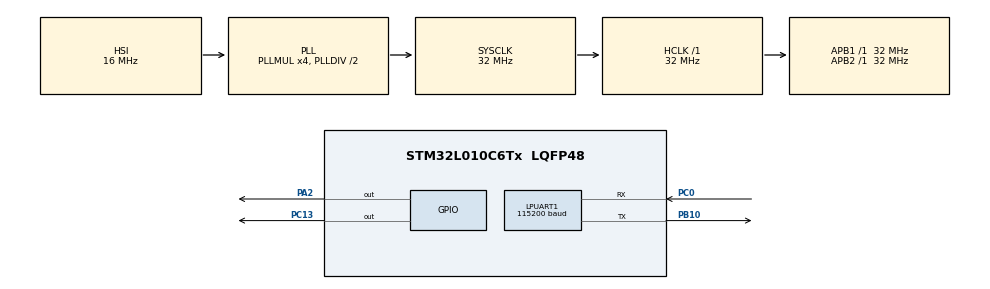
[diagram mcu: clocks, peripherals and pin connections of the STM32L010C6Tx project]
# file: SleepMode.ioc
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LPUART1.BaudRate=115200
LPUART1.WordLength=UART_WORDLENGTH_8B
Mcu.Family=STM32L0
Mcu.Name=STM32L010C6Tx
Mcu.Package=LQFP48
NVIC.RTC_IRQn=true\:0\:0\:false\:false\:true\:true\:true
PA13.Mode=Serial_Wire
PA13.Signal=SYS_SWDIO
PA14.Mode=Serial_Wire
PA14.Signal=SYS_SWCLK
PA2.Signal=GPIO_Output
PB10.Mode=Asynchronous
PB10.Signal=LPUART1_TX
PC0.Mode=Asynchronous
PC0.Signal=LPUART1_RX
PC13-ANTI_TAMP.Signal=GPIO_Output
ProjectManager.HeapSize=0x200
ProjectManager.StackSize=0x400
ProjectManager.TargetToolchain=STM32CubeIDE
RCC.AHBFreq_Value=32000000
RCC.APB1Freq_Value=32000000
RCC.APB1TimFreq_Value=32000000
RCC.APB2Freq_Value=32000000
RCC.APB2TimFreq_Value=32000000
RCC.HCLKFreq_Value=32000000
RCC.HSE_VALUE=8000000
RCC.HSI16_VALUE=16000000
RCC.HSI_VALUE=16000000
RCC.LSE_VALUE=32768
RCC.MSI_VALUE=2097000
RCC.PLLMUL=RCC_PLLMUL_4
RCC.SYSCLKFreq_VALUE=32000000
RCC.SYSCLKSource=RCC_SYSCLKSOURCE_PLLCLK
RCC.VCOOutputFreq_Value=64000000
RTC.WakeUpClock-WakeUp=RTC_WAKEUPCLOCK_CK_SPRE_16BITS
RTC.WakeUpCounter-WakeUp=7
VP_RTC_VS_RTC_Activate.Mode=RTC_Enabled
VP_RTC_VS_RTC_WakeUp_intern.Mode=WakeUp
board=custom

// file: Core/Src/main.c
/* USER CODE BEGIN Header */
/**
  ******************************************************************************
  * @file           : main.c
  * @brief          : Main program body
  ******************************************************************************
  * @attention
  *
  * Copyright (c) 2022 STMicroelectronics.
  * All rights reserved.
  *
  * This software is licensed under terms that can be found in the LICENSE file
  * in the root directory of this software component.
  * If no LICENSE file comes with this software, it is provided AS-IS.
  *
  ******************************************************************************
  */
/* USER CODE END Header */
#include "main.h"

/* USER CODE BEGIN Includes */
#include <string.h>
#include <stdio.h>
#define printf(...)  HAL_UART_Transmit((UART_HandleTypeDef *)&hlpuart1, (uint8_t *)u_buf,\
		                                sprintf((char*)u_buf,__VA_ARGS__), 0xFFFF);
uint8_t u_buf[256];
/* USER CODE END Includes */

UART_HandleTypeDef hlpuart1;

RTC_HandleTypeDef hrtc;

void SystemClock_Config(void);
static void MX_GPIO_Init(void);
static void MX_LPUART1_UART_Init(void);
static void MX_RTC_Init(void);

int main(void)
{

  /* MCU Configuration--------------------------------------------------------*/

  /* Reset of all peripherals, Initializes the Flash interface and the Systick. */
  HAL_Init();

  /* Configure the system clock */
  SystemClock_Config();

  /* Initialize all configured peripherals */
  MX_GPIO_Init();
  MX_LPUART1_UART_Init();
  MX_RTC_Init();
  /* USER CODE BEGIN 2 */
  HAL_RTCEx_DeactivateWakeUpTimer(&hrtc);
  __HAL_RTC_WAKEUPTIMER_CLEAR_FLAG(&hrtc, RTC_FLAG_WUTF);
  __HAL_RTC_WAKEUPTIMER_EXTI_CLEAR_FLAG();
  HAL_RTCEx_SetWakeUpTimer_IT(&hrtc, 0x0009, RTC_WAKEUPCLOCK_CK_SPRE_16BITS); //ck_spre ~1 Hz (40 kHz div127 div 315) used as clock for the RTC wake-up timer
  /* USER CODE END 2 */

  /* Infinite loop */
  while (1)
  {

    /* USER CODE BEGIN 3 */
	  /*HAL_GPIO_TogglePin(GPIOC, GPIO_PIN_13); // Toggle with a pin to check the wake-up period
	  HAL_Delay(2000);*/

	  HAL_GPIO_WritePin(GPIOC, GPIO_PIN_13, GPIO_PIN_SET);
	        HAL_UART_Transmit(&hlpuart1, "yandi\r\n", 7, 1000);

	        HAL_Delay(3000);

	  	  HAL_GPIO_WritePin(GPIOC, GPIO_PIN_13, GPIO_PIN_RESET);
	        HAL_UART_Transmit(&hlpuart1, "sondu\r\n", 7, 1000);

	  HAL_SuspendTick(); // Disable SysTick, otherwise it would wake-up the CPU within 1 ms

	  HAL_PWR_EnterSLEEPMode(PWR_MAINREGULATOR_ON, PWR_SLEEPENTRY_WFI);
	  HAL_ResumeTick(); // Enable SysTick after wake-up

	  printf("About to enter the STANDBY MODE\r\n");
  }
  /* USER CODE END 3 */
}

void SystemClock_Config(void)
{
  RCC_OscInitTypeDef RCC_OscInitStruct = {0};
  RCC_ClkInitTypeDef RCC_ClkInitStruct = {0};
  RCC_PeriphCLKInitTypeDef PeriphClkInit = {0};

  /** Configure the main internal regulator output voltage
  */
  __HAL_PWR_VOLTAGESCALING_CONFIG(PWR_REGULATOR_VOLTAGE_SCALE1);
  /** Initializes the RCC Oscillators according to the specified parameters
  * in the RCC_OscInitTypeDef structure.
  */
  RCC_OscInitStruct.OscillatorType = RCC_OSCILLATORTYPE_HSI|RCC_OSCILLATORTYPE_LSI;
  RCC_OscInitStruct.HSIState = RCC_HSI_ON;
  RCC_OscInitStruct.HSICalibrationValue = RCC_HSICALIBRATION_DEFAULT;
  RCC_OscInitStruct.LSIState = RCC_LSI_ON;
  RCC_OscInitStruct.PLL.PLLState = RCC_PLL_ON;
  RCC_OscInitStruct.PLL.PLLSource = RCC_PLLSOURCE_HSI;
  RCC_OscInitStruct.PLL.PLLMUL = RCC_PLLMUL_4;
  RCC_OscInitStruct.PLL.PLLDIV = RCC_PLLDIV_2;
  if (HAL_RCC_OscConfig(&RCC_OscInitStruct) != HAL_OK)
  {
    Error_Handler();
  }
  /** Initializes the CPU, AHB and APB buses clocks
  */
  RCC_ClkInitStruct.ClockType = RCC_CLOCKTYPE_HCLK|RCC_CLOCKTYPE_SYSCLK
                              |RCC_CLOCKTYPE_PCLK1|RCC_CLOCKTYPE_PCLK2;
  RCC_ClkInitStruct.SYSCLKSource = RCC_SYSCLKSOURCE_PLLCLK;
  RCC_ClkInitStruct.AHBCLKDivider = RCC_SYSCLK_DIV1;
  RCC_ClkInitStruct.APB1CLKDivider = RCC_HCLK_DIV1;
  RCC_ClkInitStruct.APB2CLKDivider = RCC_HCLK_DIV1;

  if (HAL_RCC_ClockConfig(&RCC_ClkInitStruct, FLASH_LATENCY_1) != HAL_OK)
  {
    Error_Handler();
  }
  PeriphClkInit.PeriphClockSelection = RCC_PERIPHCLK_LPUART1|RCC_PERIPHCLK_RTC;
  PeriphClkInit.Lpuart1ClockSelection = RCC_LPUART1CLKSOURCE_PCLK1;
  PeriphClkInit.RTCClockSelection = RCC_RTCCLKSOURCE_LSI;
  if (HAL_RCCEx_PeriphCLKConfig(&PeriphClkInit) != HAL_OK)
  {
    Error_Handler();
  }
}

static void MX_LPUART1_UART_Init(void)
{

  hlpuart1.Instance = LPUART1;
  hlpuart1.Init.BaudRate = 115200;
  hlpuart1.Init.WordLength = UART_WORDLENGTH_8B;
  hlpuart1.Init.StopBits = UART_STOPBITS_1;
  hlpuart1.Init.Parity = UART_PARITY_NONE;
  hlpuart1.Init.Mode = UART_MODE_TX_RX;
  hlpuart1.Init.HwFlowCtl = UART_HWCONTROL_NONE;
  hlpuart1.Init.OneBitSampling = UART_ONE_BIT_SAMPLE_DISABLE;
  hlpuart1.AdvancedInit.AdvFeatureInit = UART_ADVFEATURE_NO_INIT;
  if (HAL_UART_Init(&hlpuart1) != HAL_OK)
  {
    Error_Handler();
  }

}

static void MX_RTC_Init(void)
{

  /** Initialize RTC Only
  */
  hrtc.Instance = RTC;
  hrtc.Init.HourFormat = RTC_HOURFORMAT_24;
  hrtc.Init.AsynchPrediv = 127;
  hrtc.Init.SynchPrediv = 255;
  hrtc.Init.OutPut = RTC_OUTPUT_DISABLE;
  hrtc.Init.OutPutRemap = RTC_OUTPUT_REMAP_NONE;
  hrtc.Init.OutPutPolarity = RTC_OUTPUT_POLARITY_HIGH;
  hrtc.Init.OutPutType = RTC_OUTPUT_TYPE_OPENDRAIN;
  if (HAL_RTC_Init(&hrtc) != HAL_OK)
  {
    Error_Handler();
  }
  /** Enable the WakeUp
  */
  if (HAL_RTCEx_SetWakeUpTimer_IT(&hrtc, 7, RTC_WAKEUPCLOCK_CK_SPRE_16BITS) != HAL_OK)
  {
    Error_Handler();
  }

}

static void MX_GPIO_Init(void)
{
  GPIO_InitTypeDef GPIO_InitStruct = {0};

  /* GPIO Ports Clock Enable */
  __HAL_RCC_GPIOC_CLK_ENABLE();
  __HAL_RCC_GPIOA_CLK_ENABLE();
  __HAL_RCC_GPIOB_CLK_ENABLE();

  /*Configure GPIO pin Output Level */
  HAL_GPIO_WritePin(GPIOC, GPIO_PIN_13, GPIO_PIN_RESET);

  /*Configure GPIO pin Output Level */
  HAL_GPIO_WritePin(GPIOA, GPIO_PIN_2, GPIO_PIN_RESET);

  /*Configure GPIO pin : PC13 */
  GPIO_InitStruct.Pin = GPIO_PIN_13;
  GPIO_InitStruct.Mode = GPIO_MODE_OUTPUT_PP;
  GPIO_InitStruct.Pull = GPIO_NOPULL;
  GPIO_InitStruct.Speed = GPIO_SPEED_FREQ_LOW;
  HAL_GPIO_Init(GPIOC, &GPIO_InitStruct);

  /*Configure GPIO pin : PA2 */
  GPIO_InitStruct.Pin = GPIO_PIN_2;
  GPIO_InitStruct.Mode = GPIO_MODE_OUTPUT_PP;
  GPIO_InitStruct.Pull = GPIO_NOPULL;
  GPIO_InitStruct.Speed = GPIO_SPEED_FREQ_LOW;
  HAL_GPIO_Init(GPIOA, &GPIO_InitStruct);

}

/* USER CODE BEGIN 4 */
void HAL_RTCEx_WakeUpTimerEventCallback(RTC_HandleTypeDef *hrtc)
{
	// Callback called from the RTC interrupt service routine
}
/* USER CODE END 4 */

void Error_Handler(void)
{
  __disable_irq();
  while (1)
  {
  }
}

/************************ (C) COPYRIGHT STMicroelectronics *****END OF FILE****/
